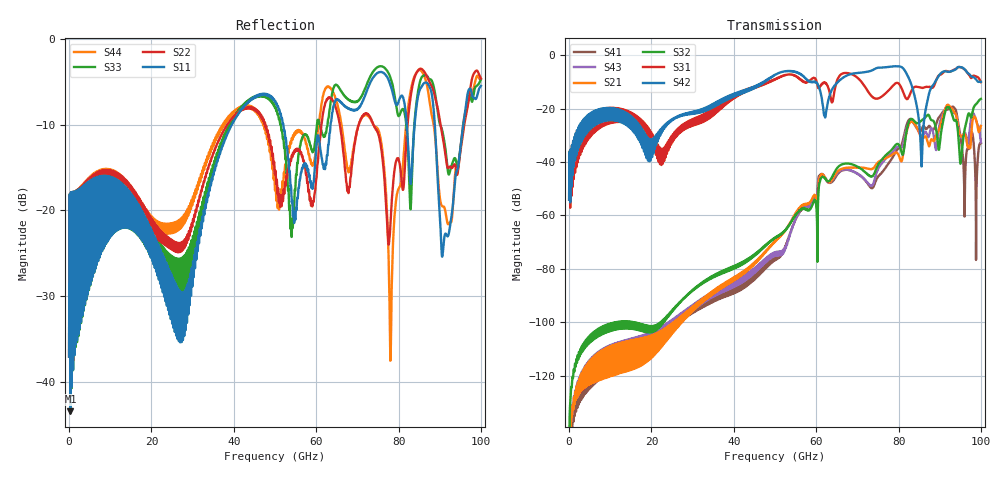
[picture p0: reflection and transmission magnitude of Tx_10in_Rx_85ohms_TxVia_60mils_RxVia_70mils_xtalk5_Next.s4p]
! Info: Touchstone file created by Circ.  Input file=Tx_10in_Rx_85ohms_TxVia_60mils_RxVia_70mils.circ
# Hz S RI R 50
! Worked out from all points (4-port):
!   10000 points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, 10 MHz to 100 GHz, reference 50 ohm
!   strongest paths, dB at 10 MHz, 25.01 GHz, 50.01 GHz, 75.01 GHz, 100 GHz:
!     S42: -54.1, -24.4, -7.4, -4.7, -10.0
!     S31: -54.1, -31.8, -9.0, -16.2, -10.1
!     S32: -156.6, -96.2, -68.3, -41.2, -16.4
!     S21: -167.4, -102.9, -69.6, -40.1, -26.5
!     S43: -158.0, -101.2, -73.8, -42.7, -32.7
!     S41: -158.3, -101.2, -75.9, -45.4, -33.0
!   lowest |S11| = -43.5 dB at 320 MHz (marker M1), VSWR 1.01, Z = 49.4 - j0.194 ohm
!   |S11| at or under -10 dB: start of sweep to 39.52 GHz; 52.05 GHz to 63.48 GHz (11.44 GHz wide, 19.8 % of centre); 88.81 GHz to 95.73 GHz (6.922 GHz wide, 7.5 % of centre) (the widest 3 of 4)
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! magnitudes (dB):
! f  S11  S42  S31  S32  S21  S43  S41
! 10 MHz  -37.1  -54.1  -54.1  -156.6  -167.4  -158.0  -158.3
! 320 MHz  -43.5  -41.4  -41.4  -130.1  -140.6  -140.6  -144.4
! 40.19 GHz  -9.4  -15.5  -16.1  -78.8  -83.1  -84.5  -87.1
! 72.85 GHz  -5.4  -6.0  -14.2  -45.0  -42.6  -48.4  -48.8
! 78.07 GHz  -5.4  -4.3  -12.4  -35.9  -37.7  -37.0  -39.5
! 85.57 GHz  -5.6  -41.5  -12.2  -24.4  -31.2  -30.1  -27.8
! 100 GHz  -5.5  -10.0  -10.1  -16.4  -26.5  -32.7  -33.0
